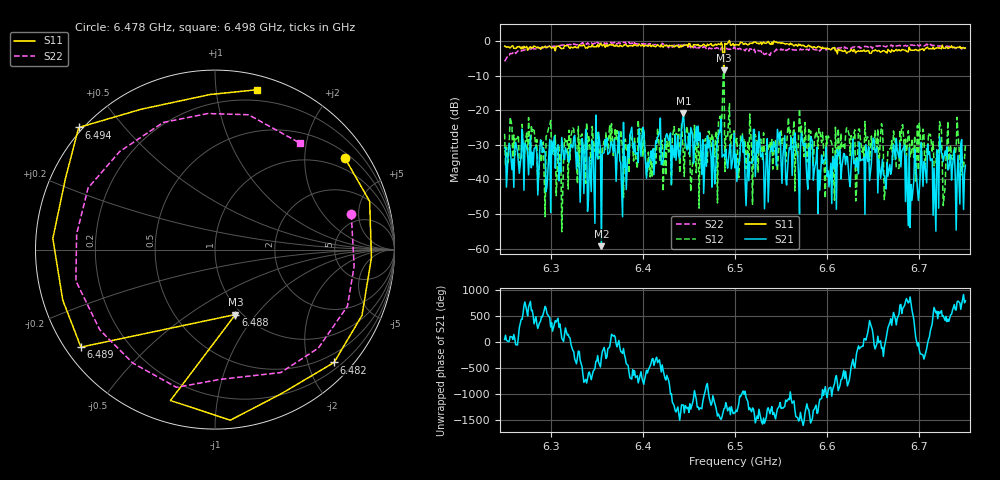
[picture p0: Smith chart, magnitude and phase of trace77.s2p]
# Hz S RI R 50
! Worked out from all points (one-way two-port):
!   401 points, 6.25 GHz to 6.75 GHz, reference 50 ohm
!   highest |S21| = -20.83 dB at 6.444 GHz (marker M1); lowest = -59.3 dB at 6.355 GHz (marker M2)
!   lowest |S11| = -8.4 dB at 6.488 GHz (marker M3), VSWR 2.22, Z = 46.7 - j39.5 ohm
!   |S11| at or under -10 dB: nowhere
!   |S22| runs from -5.9 to -0.1 dB; largest |S21 - S12| = 0.72
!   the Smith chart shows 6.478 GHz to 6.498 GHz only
!   S11 on the Smith chart (normalised r, x): 6.478 GHz: 0.64, +3.02; 6.482 GHz: 0.32, -2.47; 6.488 GHz: 0.93, -0.79; 6.489 GHz: 0.04, -0.32; 6.494 GHz: -0.01, +0.38; 6.498 GHz: 0.11, +1.29
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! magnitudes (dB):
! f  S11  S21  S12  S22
! 6.25 GHz  -1.5  -30.9  -26.8  -5.9
! 6.291 GHz  -1.7  -32.2  -30.4  -2.0
! 6.298 GHz  -1.6  -33.1  -24.9  -1.5
! 6.311 GHz  -2.1  -37.8  -32.5  -1.3
! 6.334 GHz  -1.5  -28.2  -26.8  -0.6
! 6.355 GHz  -1.0  -59.3  -38.0  -0.6
! 6.418 GHz  -1.5  -26.6  -30.9  -1.2
! 6.444 GHz  -1.2  -20.8  -33.1  -1.4
! 6.478 GHz  -1.1  -41.3  -33.5  -2.1
! 6.482 GHz  -0.8  -27.4  -23.4  -2.2
! 6.488 GHz  -8.4  -32.7  -3.1  -2.1
! 6.489 GHz  -0.7  -33.6  -37.7  -2.0
! 6.494 GHz  0.2  -31.4  -18.1  -2.3
! 6.498 GHz  -0.7  -33.6  -26.8  -2.4
! 6.5 GHz  -1.1  -36.7  -28.9  -1.9
! 6.584 GHz  -2.0  -28.9  -32.9  -2.2
! 6.668 GHz  -3.0  -35.7  -31.2  -1.5
! 6.681 GHz  -2.5  -31.8  -24.5  -1.4
! 6.69 GHz  -2.5  -53.9  -33.5  -1.2
! 6.711 GHz  -2.2  -32.0  -27.2  -1.4
! 6.715 GHz  -1.8  -50.3  -29.1  -1.2
! 6.75 GHz  -2.0  -35.9  -30.2  -1.8
